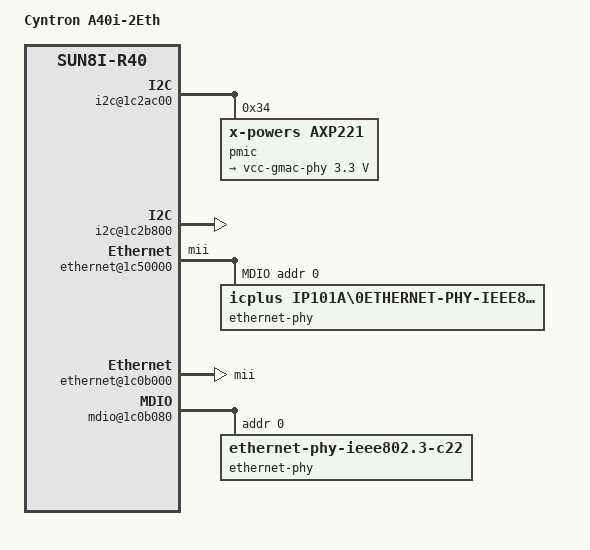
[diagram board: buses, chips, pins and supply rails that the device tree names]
/dts-v1/;

/* SA-02m fixture: bench 1.135 decompile (dtc 1.7.0) of the ORIGINAL boot blob,
 * trimmed to the nodes the patcher touches; every kept node is a byte-exact
 * copy. dtc 1.7 writes a string list as ONE literal with \0 escapes.
 * d0.dts (a bench copy, not in the tree): before any apply. */

/ {
	#address-cells = <0x01>;
	#size-cells = <0x01>;
	interrupt-parent = <0x01>;
	model = "Cyntron A40i-2Eth";
	compatible = "sk,a40i-nano-2e\0allwinner,sun8i-r40";

	soc {
		compatible = "simple-bus";
		#address-cells = <0x01>;
		#size-cells = <0x01>;
		ranges;

		i2c@1c2ac00 {
			compatible = "allwinner,sun6i-a31-i2c";
			reg = <0x1c2ac00 0x400>;
			interrupts = <0x00 0x07 0x04>;
			clocks = <0x02 0x57>;
			resets = <0x02 0x40>;
			pinctrl-0 = <0x27>;
			pinctrl-names = "default";
			status = "okay";
			#address-cells = <0x01>;
			#size-cells = <0x00>;

			pmic@34 {
				compatible = "x-powers,axp221";
				reg = <0x34>;
				interrupt-parent = <0x28>;
				interrupts = <0x00 0x08>;
				interrupt-controller;
				#interrupt-cells = <0x01>;

				regulators {
					x-powers,dcdc-freq = <0xbb8>;

					dc1sw {
						regulator-always-on;
						regulator-name = "vcc-gmac-phy";
						regulator-min-microvolt = <0x325aa0>;
						regulator-max-microvolt = <0x325aa0>;
					};
				};
			};
		};

		i2c@1c2b800 {
			compatible = "allwinner,sun6i-a31-i2c";
			reg = <0x1c2b800 0x400>;
			interrupts = <0x00 0x58 0x04>;
			clocks = <0x02 0x5a>;
			resets = <0x02 0x43>;
			pinctrl-0 = <0x2b>;
			pinctrl-names = "default";
			status = "okay";
			#address-cells = <0x01>;
			#size-cells = <0x00>;
		};

		ethernet@1c50000 {
			compatible = "allwinner,sun8i-r40-gmac";
			syscon = <0x02>;
			reg = <0x1c50000 0x10000>;
			interrupts = <0x00 0x55 0x04>;
			interrupt-names = "macirq";
			resets = <0x02 0x28>;
			reset-names = "stmmaceth";
			clocks = <0x02 0x40>;
			clock-names = "stmmaceth";
			status = "okay";
			pinctrl-names = "default";
			pinctrl-0 = <0x2f>;
			phy-handle = <0x30>;
			phy-mode = "mii";
			phy-supply = <0x15>;

			mdio {
				compatible = "snps,dwmac-mdio";
				#address-cells = <0x01>;
				#size-cells = <0x00>;

				ethernet-phy@0 {
					compatible = "icplus,ip101a\0ethernet-phy-ieee802.3-c22";
					reg = <0x00>;
					reset-gpios = <0x31 0x07 0x0d 0x01>;
					reset-assert-us = <0x2710>;
					reset-deassert-us = <0x7a120>;
					icplus,select-rx-error;
					status = "okay";
					phandle = <0x30>;
				};
			};
		};

		ethernet@1c0b000 {
			compatible = "allwinner,sun8i-r40-emac";
			reg = <0x1c0b000 0x1000>;
			interrupts = <0x00 0x37 0x04>;
			clocks = <0x02 0x26>;
			resets = <0x02 0x0e>;
			allwinner,sram = <0x32 0x01>;
			status = "okay";
			pinctrl-names = "default";
			pinctrl-0 = <0x33>;
			phy-handle = <0x34>;
			phy-mode = "mii";
			phy-supply = <0x15>;
		};

		mdio@1c0b080 {
			compatible = "allwinner,sun4i-a10-mdio";
			reg = <0x1c0b080 0x14>;
			status = "okay";
			#address-cells = <0x01>;
			#size-cells = <0x00>;

			ethernet-phy@0 {
				compatible = "ethernet-phy-ieee802.3-c22";
				reg = <0x00>;
				reset-gpios = <0x31 0x07 0x0c 0x01>;
				reset-assert-us = <0x2710>;
				reset-deassert-us = <0x7a120>;
				icplus,select-rx-error;
				status = "okay";
				phandle = <0x34>;
			};
		};
	};
};
